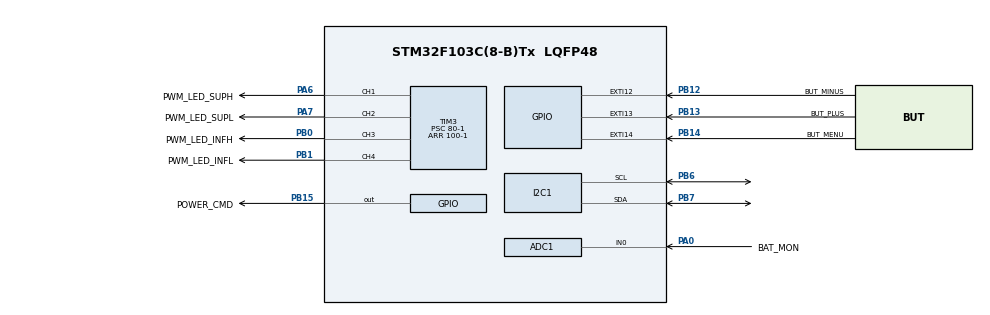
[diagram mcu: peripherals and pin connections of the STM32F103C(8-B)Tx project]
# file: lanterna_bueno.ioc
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ADC1.Channel-0\#ChannelRegularConversion=ADC_CHANNEL_0
ADC1.Channel-1\#ChannelRegularConversion=ADC_CHANNEL_TEMPSENSOR
ADC1.ContinuousConvMode=ENABLE
ADC1.NbrOfConversion=2
ADC1.NbrOfConversionFlag=1
ADC1.Rank-0\#ChannelRegularConversion=1
ADC1.Rank-1\#ChannelRegularConversion=2
ADC1.SamplingTime-0\#ChannelRegularConversion=ADC_SAMPLETIME_239CYCLES_5
ADC1.SamplingTime-1\#ChannelRegularConversion=ADC_SAMPLETIME_239CYCLES_5
ADC1.master=1
Dma.I2C1_TX.0.Direction=DMA_MEMORY_TO_PERIPH
Dma.I2C1_TX.0.Instance=DMA1_Channel6
Dma.I2C1_TX.0.MemDataAlignment=DMA_MDATAALIGN_BYTE
Dma.I2C1_TX.0.MemInc=DMA_MINC_ENABLE
Dma.I2C1_TX.0.Mode=DMA_NORMAL
Dma.I2C1_TX.0.PeriphDataAlignment=DMA_PDATAALIGN_BYTE
Dma.I2C1_TX.0.PeriphInc=DMA_PINC_DISABLE
Dma.I2C1_TX.0.Priority=DMA_PRIORITY_LOW
Dma.Request0=I2C1_TX
I2C1.I2C_Mode=I2C_Fast
Mcu.Family=STM32F1
Mcu.Name=STM32F103C(8-B)Tx
Mcu.Package=LQFP48
NVIC.DMA1_Channel6_IRQn=true\:0\:0\:false\:false\:true\:false\:true\:true
NVIC.I2C1_EV_IRQn=true\:0\:0\:false\:false\:true\:true\:true\:true
NVIC.PriorityGroup=NVIC_PRIORITYGROUP_4
PA0-WKUP.GPIO_Label=BAT_MON
PA0-WKUP.Signal=ADCx_IN0
PA13.Mode=Serial_Wire
PA13.Signal=SYS_JTMS-SWDIO
PA14.Mode=Serial_Wire
PA14.Signal=SYS_JTCK-SWCLK
PA6.GPIO_Label=PWM_LED_SUPH
PA6.Signal=S_TIM3_CH1
PA7.GPIO_Label=PWM_LED_SUPL
PA7.Signal=S_TIM3_CH2
PB0.GPIO_Label=PWM_LED_INFH
PB0.Signal=S_TIM3_CH3
PB1.GPIO_Label=PWM_LED_INFL
PB1.Signal=S_TIM3_CH4
PB12.GPIO_Label=BUT_MINUS
PB12.GPIO_ModeDefaultEXTI=GPIO_MODE_IT_FALLING
PB12.GPIO_PuPd=GPIO_PULLUP
PB12.Signal=GPXTI12
PB13.GPIO_Label=BUT_PLUS
PB13.GPIO_ModeDefaultEXTI=GPIO_MODE_IT_FALLING
PB13.GPIO_PuPd=GPIO_PULLUP
PB13.Signal=GPXTI13
PB14.GPIO_Label=BUT_MENU
PB14.GPIO_ModeDefaultEXTI=GPIO_MODE_IT_FALLING
PB14.GPIO_PuPd=GPIO_PULLUP
PB14.Signal=GPXTI14
PB15.GPIO_Label=POWER_CMD
PB15.Signal=GPIO_Output
PB6.Mode=I2C
PB6.Signal=I2C1_SCL
PB7.Mode=I2C
PB7.Signal=I2C1_SDA
ProjectManager.HeapSize=0x200
ProjectManager.StackSize=0x400
ProjectManager.TargetToolchain=STM32CubeIDE
RCC.APB1Freq_Value=8000000
RCC.APB2Freq_Value=8000000
SH.ADCx_IN0.0=ADC1_IN0,IN0
SH.S_TIM3_CH1.0=TIM3_CH1,PWM Generation1 CH1
SH.S_TIM3_CH2.0=TIM3_CH2,PWM Generation2 CH2
SH.S_TIM3_CH3.0=TIM3_CH3,PWM Generation3 CH3
SH.S_TIM3_CH4.0=TIM3_CH4,PWM Generation4 CH4
TIM3.Channel-PWM\ Generation1\ CH1=TIM_CHANNEL_1
TIM3.Channel-PWM\ Generation2\ CH2=TIM_CHANNEL_2
TIM3.Channel-PWM\ Generation3\ CH3=TIM_CHANNEL_3
TIM3.Channel-PWM\ Generation4\ CH4=TIM_CHANNEL_4
TIM3.Period=100-1
TIM3.Prescaler=80-1
VP_ADC1_TempSens_Input.Mode=IN-TempSens
VP_TIM3_VS_ClockSourceINT.Mode=Internal
board=custom

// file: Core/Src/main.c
/* USER CODE BEGIN Header */
/**
  ******************************************************************************
  * @file           : main.c
  * @brief          : Main program body
  ******************************************************************************
  * @attention
  *
  * <h2><center>&copy; Copyright (c) 2022 STMicroelectronics.
  * All rights reserved.</center></h2>
  *
  * This software component is licensed by ST under BSD 3-Clause license,
  * the "License"; You may not use this file except in compliance with the
  * License. You may obtain a copy of the License at:
  *                        opensource.org/licenses/BSD-3-Clause
  *
  ******************************************************************************
  */
/* USER CODE END Header */
#include "main.h"
#include "adc.h"
#include "dma.h"
#include "i2c.h"
#include "tim.h"
#include "gpio.h"

/* USER CODE BEGIN Includes */

#include "ssd1306.h"

#include <string.h>
#include <stdio.h>
#include <stdlib.h>

/* USER CODE END Includes */

/* USER CODE BEGIN PTD */
typedef enum
{
  LV0 = 0,
  LV1,
  LV2,
  LV3,
  LV4
}LIGHT_LEVEL;

typedef enum
{
  CITY = 0,
  TRAIL,
  MENU_TYPE_QTD
}MENU_TYPE;

/* USER CODE END PTD */

/* USER CODE BEGIN PD */

#define Avg_Slope .0025
#define V25 0.76

/* USER CODE END PD */

/* USER CODE BEGIN PM */

#define POWER_CMD(a) HAL_GPIO_WritePin(POWER_CMD_GPIO_Port, POWER_CMD_Pin, a)
#define LIGHT_PWM_SUP(a) __HAL_TIM_SET_COMPARE(&htim3, TIM_CHANNEL_3, a)
#define LIGHT_PWM_INF(a) __HAL_TIM_SET_COMPARE(&htim3, TIM_CHANNEL_4, a)

/* USER CODE END PM */

/* USER CODE BEGIN PV */

char Str_LCD[64];

uint8_t SUP_LIGHT_LEVEL = 0,
        INF_LIGHT_LEVEL = 0,
        MENU_MODE = CITY;

uint16_t ADC_CONVERSION_TIMER = 0,
         UptadeLightLevelTimer = 0,
         RefreshDisplayTimer = 0,
				 ADC_VAL[2];

float TEMP,
			BAT_PCT;

vBUT MENU_BUTTON,
     PLUS_BUTTON,
     MINUS_BUTTON;

/* USER CODE END PV */

void SystemClock_Config(void);
/* USER CODE BEGIN PFP */

float Map (float inVal, float inMin, float inMax, float outMin, float outMax);

/* USER CODE END PFP */

int main(void)
{

  /* MCU Configuration--------------------------------------------------------*/

  /* Reset of all peripherals, Initializes the Flash interface and the Systick. */
  HAL_Init();

  /* Configure the system clock */
  SystemClock_Config();

  /* Initialize all configured peripherals */
  MX_GPIO_Init();
  MX_I2C1_Init();
  MX_DMA_Init();
  MX_TIM3_Init();
  MX_ADC1_Init();
  /* USER CODE BEGIN 2 */

	ssd1306_Init();
  ssd1306_FlipScreenVertically();
  ssd1306_Clear();
  ssd1306_SetColor(White);
	ssd1306_SetCursor(2,0);
	ssd1306_WriteString("Bueno", Font_16x26);
	ssd1306_SetCursor(30,0);
	ssd1306_WriteString("Light", Font_16x26);
	ssd1306_UpdateScreen();

	HAL_TIM_PWM_Start(&htim3,TIM_CHANNEL_3);
  HAL_TIM_PWM_Start(&htim3,TIM_CHANNEL_4);
	LIGHT_PWM_SUP(SUP_LIGHT_LEVEL);
	LIGHT_PWM_INF(INF_LIGHT_LEVEL);

  while(MENU_BUTTON.State < MEDIUM_CLICK);

  POWER_CMD(1);

  /* USER CODE END 2 */

  /* Infinite loop */
  /* USER CODE BEGIN WHILE */
  while (1)
  {
    /*Start Menu Button Routine*/
		if(MENU_BUTTON.State == LONG_CLICK)
		{
      MENU_BUTTON.State = NO_CLICK;
      POWER_CMD(0);
    }
    else if(MENU_BUTTON.State == MEDIUM_CLICK)
    {
      MENU_BUTTON.State = NO_CLICK;
      MENU_MODE++;
    }
    else if(MENU_BUTTON.State == SHORT_CLICK)
    {
      MENU_BUTTON.State = NO_CLICK;
      if(MENU_MODE == CITY)
      {
        if(SUP_LIGHT_LEVEL != LV0)
          SUP_LIGHT_LEVEL = LV0;
        else
          SUP_LIGHT_LEVEL = LV4;
      }
    }
    else
    {
      /*NO_CLICK (do nothing)*/
    }
    /*End Menu Button Routine*/

    /*Start Plus Button Routine*/
    if(PLUS_BUTTON.State == LONG_CLICK)
		{
      PLUS_BUTTON.State == NO_CLICK;
    }
    else if(PLUS_BUTTON.State == MEDIUM_CLICK)
    {
      PLUS_BUTTON.State == NO_CLICK;
    }
    else if(PLUS_BUTTON.State == SHORT_CLICK)
    {
      PLUS_BUTTON.State == NO_CLICK;
      if(MENU_MODE == TRAIL)
        INF_LIGHT_LEVEL++;
    }
    else
    {
      /*NO_CLICK (do nothing)*/
    }
    /*End Plus Button Routine*/

    /*Start Minus Button Routine*/
    if(MINUS_BUTTON.State == LONG_CLICK)
		{
      MINUS_BUTTON.State == NO_CLICK;
    }
    else if(MINUS_BUTTON.State == MEDIUM_CLICK)
    {
      MINUS_BUTTON.State == NO_CLICK;
    }
    else if(MINUS_BUTTON.State == SHORT_CLICK)
    {
      MINUS_BUTTON.State == NO_CLICK;
      if(MENU_MODE == TRAIL)
        INF_LIGHT_LEVEL--;
    }
    else
    {
      /*NO_CLICK (do nothing)*/
    }
    /*End Minus Button Routine*/

    /*Start of saturation light levels*/
    if(INF_LIGHT_LEVEL > LV4)
      INF_LIGHT_LEVEL = LV4;
    if(INF_LIGHT_LEVEL < LV0)
      INF_LIGHT_LEVEL = LV0;

    if(SUP_LIGHT_LEVEL > LV4)
      SUP_LIGHT_LEVEL = LV4;
    if(SUP_LIGHT_LEVEL < LV0)
      SUP_LIGHT_LEVEL = LV0;
    /*End of saturation light levels*/

    if(MENU_MODE > MENU_TYPE_QTD-1)
      MENU_MODE = CITY;

    if(RefreshDisplayTimer > 100)
    {
      RefreshDisplayTimer = 0;

      if(MENU_MODE == CITY)
			{
        ssd1306_SetCursor(2,0);
				ssd1306_WriteString("CITY", Font_7x10);
			}
      else if(MENU_MODE == TRAIL)
			{
        ssd1306_SetCursor(2,0);
				ssd1306_WriteString("TRAIL", Font_7x10);
			}
      else
      {
				/*do nothing*/
			}
      if(MENU_MODE == TRAIL)
      {
        if(SUP_LIGHT_LEVEL == LV0) sprintf(Str_LCD, "Level 0");
        else if(SUP_LIGHT_LEVEL == LV1) sprintf(Str_LCD, "Level 1");
        else if(SUP_LIGHT_LEVEL == LV2) sprintf(Str_LCD, "Level 2");
        else if(SUP_LIGHT_LEVEL == LV3) sprintf(Str_LCD, "Level 3");
        else if(SUP_LIGHT_LEVEL == LV4) sprintf(Str_LCD, "Level 4");
        else { /*do nothing*/ }
        ssd1306_SetCursor(2,64);
				ssd1306_WriteString(Str_LCD, Font_7x10);
      }
      else
      {
        ssd1306_SetCursor(2,64);
				ssd1306_WriteString("       ", Font_7x10);
      }

			ssd1306_UpdateScreen();
    }

    /*Start of Task for update light levels*/
    if(UptadeLightLevelTimer > 100)
    {
      UptadeLightLevelTimer = 0;

      if(SUP_LIGHT_LEVEL == LV0)
        LIGHT_PWM_SUP(0);
      else if(SUP_LIGHT_LEVEL == LV1)
        LIGHT_PWM_SUP(20);
      else if(SUP_LIGHT_LEVEL == LV2)
        LIGHT_PWM_SUP(40);
      else if(SUP_LIGHT_LEVEL == LV3)
        LIGHT_PWM_SUP(60);
      else if(SUP_LIGHT_LEVEL == LV4)
        LIGHT_PWM_SUP(80);
      else
        {/*do nothing*/}

      if(INF_LIGHT_LEVEL == LV0)
        LIGHT_PWM_INF(0);
      else if(INF_LIGHT_LEVEL == LV1)
        LIGHT_PWM_INF(20);
      else if(INF_LIGHT_LEVEL == LV2)
        LIGHT_PWM_INF(40);
      else if(INF_LIGHT_LEVEL == LV3)
        LIGHT_PWM_INF(60);
      else if(INF_LIGHT_LEVEL == LV4)
        LIGHT_PWM_INF(80);
      else
        {/*do nothing*/}
    }
	  /*End of Task for update light levels*/

		/*Reads Battery level and temperature periodically (every 2 seconds)*/
		if(ADC_CONVERSION_TIMER > 2000)
		{
			ADC_CONVERSION_TIMER = 0;

			HAL_ADC_Start(&hadc1);
			HAL_ADC_PollForConversion(&hadc1, 1000);
			ADC_VAL[0] = HAL_ADC_GetValue(&hadc1);
			HAL_ADC_Stop(&hadc1);

			HAL_ADC_PollForConversion(&hadc1, 1000);
			ADC_VAL[1] = HAL_ADC_GetValue(&hadc1);
			HAL_ADC_Stop(&hadc1);

			TEMP = ((3.3*ADC_VAL[1]/4095 - V25)/Avg_Slope)+25;

			float BAT_VOLTAGE = 3.3*ADC_VAL[0]/4095;

			BAT_PCT = Map(BAT_VOLTAGE, 3.3, 4.1, 0, 100);

			sprintf(Str_LCD, "%.0f%", BAT_PCT);
			ssd1306_SetCursor (0,0); ssd1306_WriteString( Str_LCD, Font_7x10); ssd1306_UpdateScreen();
			sprintf(Str_LCD, "%.1fC", TEMP);
			ssd1306_SetCursor (0,0); ssd1306_WriteString( Str_LCD, Font_7x10); ssd1306_UpdateScreen();
		}
    /* USER CODE END WHILE */

  }
}

void SystemClock_Config(void)
{
  RCC_OscInitTypeDef RCC_OscInitStruct = {0};
  RCC_ClkInitTypeDef RCC_ClkInitStruct = {0};
  RCC_PeriphCLKInitTypeDef PeriphClkInit = {0};

  /** Initializes the RCC Oscillators according to the specified parameters
  * in the RCC_OscInitTypeDef structure.
  */
  RCC_OscInitStruct.OscillatorType = RCC_OSCILLATORTYPE_HSI;
  RCC_OscInitStruct.HSIState = RCC_HSI_ON;
  RCC_OscInitStruct.HSICalibrationValue = RCC_HSICALIBRATION_DEFAULT;
  RCC_OscInitStruct.PLL.PLLState = RCC_PLL_NONE;
  if (HAL_RCC_OscConfig(&RCC_OscInitStruct) != HAL_OK)
  {
    Error_Handler();
  }
  /** Initializes the CPU, AHB and APB buses clocks
  */
  RCC_ClkInitStruct.ClockType = RCC_CLOCKTYPE_HCLK|RCC_CLOCKTYPE_SYSCLK
                              |RCC_CLOCKTYPE_PCLK1|RCC_CLOCKTYPE_PCLK2;
  RCC_ClkInitStruct.SYSCLKSource = RCC_SYSCLKSOURCE_HSI;
  RCC_ClkInitStruct.AHBCLKDivider = RCC_SYSCLK_DIV1;
  RCC_ClkInitStruct.APB1CLKDivider = RCC_HCLK_DIV1;
  RCC_ClkInitStruct.APB2CLKDivider = RCC_HCLK_DIV1;

  if (HAL_RCC_ClockConfig(&RCC_ClkInitStruct, FLASH_LATENCY_0) != HAL_OK)
  {
    Error_Handler();
  }
  PeriphClkInit.PeriphClockSelection = RCC_PERIPHCLK_ADC;
  PeriphClkInit.AdcClockSelection = RCC_ADCPCLK2_DIV2;
  if (HAL_RCCEx_PeriphCLKConfig(&PeriphClkInit) != HAL_OK)
  {
    Error_Handler();
  }
}

/* USER CODE BEGIN 4 */

float Map (float inVal, float inMin, float inMax, float outMin, float outMax)
{
	if(inVal<inMin)
		inVal=inMin;

	if(inVal>inMax)
		inVal=inMax;

	return ( (inVal - inMin)*(outMax - outMin)/(inMax - inMin) + outMin );
}

/* USER CODE END 4 */

void Error_Handler(void)
{
  __disable_irq();
  while (1)
  {
  }
}

/************************ (C) COPYRIGHT STMicroelectronics *****END OF FILE****/
